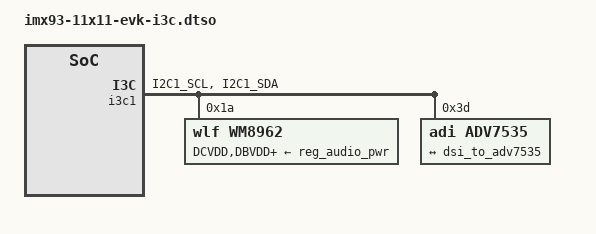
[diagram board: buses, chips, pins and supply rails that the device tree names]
// SPDX-License-Identifier: (GPL-2.0+ OR MIT)
/*
 * Copyright 2022-2025 NXP
 */

#include <dt-bindings/clock/imx93-clock.h>
#include <dt-bindings/gpio/gpio.h>
#include <dt-bindings/i3c/i3c.h>

#include "imx93-pinfunc.h"

/dts-v1/;
/plugin/;

&lpi2c1 {
	status = "disabled";
};

&{/} {
	sound-wm8962 {
		audio-codec = <&wm8962>;
	};
};

&i3c1 {
	pinctrl-names = "default";
	pinctrl-0 = <&pinctrl_i3c1>;
	#address-cells = <3>;
	#size-cells = <0>;
	i2c-scl-hz = <400000>;
	status = "okay";

	/* i2c devices */
	wm8962: codec@1a {
		compatible = "wlf,wm8962";
		reg = <0x1a 0x00 (I2C_FM | I2C_NO_FILTER_LOW_FREQUENCY)>;
		clocks = <&clk IMX93_CLK_SAI3_GATE>;
		DCVDD-supply = <&reg_audio_pwr>;
		DBVDD-supply = <&reg_audio_pwr>;
		AVDD-supply = <&reg_audio_pwr>;
		CPVDD-supply = <&reg_audio_pwr>;
		MICVDD-supply = <&reg_audio_pwr>;
		PLLVDD-supply = <&reg_audio_pwr>;
		SPKVDD1-supply = <&reg_audio_pwr>;
		SPKVDD2-supply = <&reg_audio_pwr>;
		gpio-cfg = <
			0x0000 /* 0:Default */
			0x0000 /* 1:Default */
			0x0000 /* 2:FN_DMICCLK */
			0x0000 /* 3:Default */
			0x0000 /* 4:FN_DMICCDAT */
			0x0000 /* 5:Default */
		>;
	};

	adv7535: hdmi@3d {
		compatible = "adi,adv7535";
		reg = <0x3d 0x00 (I2C_FM | I2C_NO_FILTER_LOW_FREQUENCY)>;
		adi,addr-cec = <0x3b>;
		adi,dsi-lanes = <4>;
		status = "okay";

		port {
			adv7535_to_dsi: endpoint {
				remote-endpoint = <&dsi_to_adv7535>;
			};
		};
	};

};

&dsi_to_adv7535 {
	remote-endpoint = <&adv7535_to_dsi>;
};

&iomuxc {
	pinctrl_i3c1: i3c1grp {
		fsl,pins = <
			MX93_PAD_I2C1_SCL__I3C1_SCL	0x40000186
			MX93_PAD_I2C1_SDA__I3C1_SDA	0x40000186
		>;
	};
};
